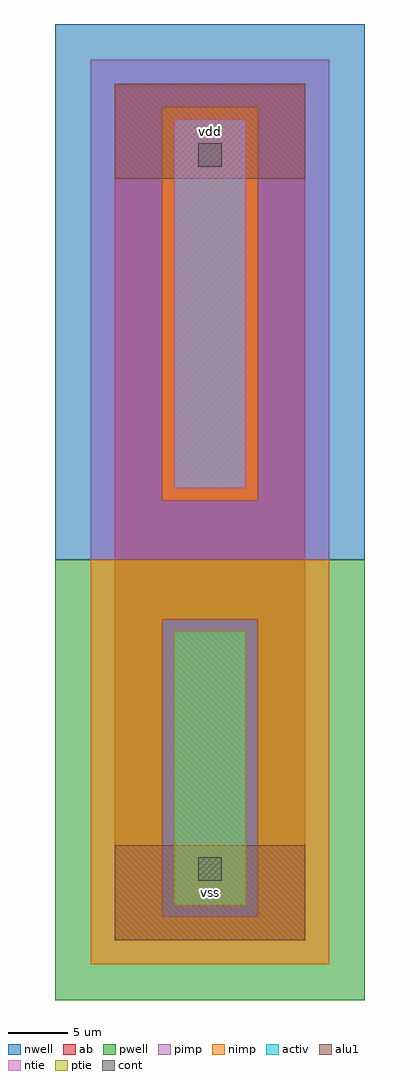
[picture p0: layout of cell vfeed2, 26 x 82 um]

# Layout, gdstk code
import gdstk
lib = gdstk.Library(unit=1e-6, precision=1e-09)
def R(c, l, rs):  # rectangles x0, y0, x1, y1
    for r in rs: c.add(gdstk.rectangle(r[:2], r[2:], *l))
ntie = (5, 0)
ptie = (6, 0)
cont = (25, 0)
pwell = (41, 0)
nwell = (42, 0)
activ = (43, 0)
pimp = (44, 0)
nimp = (45, 0)
alu1 = (49, 0)
ab = (63, 0)

vfeed2 = lib.new_cell('vfeed2')
R(vfeed2, ntie, [(5,38,11,69)])
R(vfeed2, ptie, [(5,3,11,26)])
R(vfeed2, cont, [(7,5,9,7), (7,65,9,67)])
R(vfeed2, pwell, [(-5,-5,21,32)])
R(vfeed2, nwell, [(-5,32,21,77)])
R(vfeed2, activ, [(5,3,11,26), (5,38,11,69)])
R(vfeed2, pimp, [(4,2,12,27), (-2,32,18,37), (-2,37,4,70), (12,37,18,70), (-2,70,18,74)])
R(vfeed2, nimp, [(-2,-2,18,2), (-2,2,4,27), (12,2,18,27), (-2,27,18,32), (4,37,12,70)])
R(vfeed2, alu1, [(0,0,16,8), (0,64,16,72)])
R(vfeed2, ab, [(0,0,16,72)])
vfeed2.add(gdstk.Label('vss', (8,4), layer=49, texttype=0))
vfeed2.add(gdstk.Label('vdd', (8,68), layer=49, texttype=0))

lib.write_gds('vfeed2.gds')
